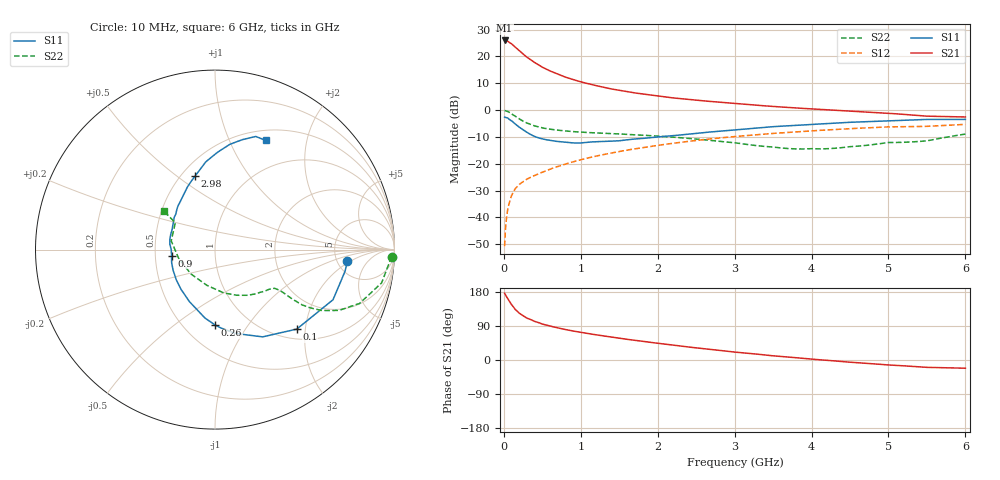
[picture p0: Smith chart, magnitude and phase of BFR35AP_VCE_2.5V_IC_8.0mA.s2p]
! Infineon Technologies  Discrete & RF Semiconductors
! BFR35AP
! VCE =  2.5 V,  IC =  8.0 mA
! Common Emitter S-Parameters:  Nov 2015
# GHz  S  MA  R  50
!  f  S11  S21  S12  S22
! GHz  MAG  ANG  MAG  ANG  MAG  ANG  MAG  ANG
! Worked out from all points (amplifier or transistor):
!   210 points, 10 MHz to 6 GHz, reference 50 ohm
!   highest |S21| = 26.0 dB at 10 MHz (marker M1)
!   |S21| within 3 dB of that: start of sweep to 168.8 MHz
!   unconditionally stable (mu >= 1): 624.7 MHz to 3.704 GHz
!   at 185 MHz: K = 0.50, MSG = 25.4 dB, |S12| = -28.2 dB
!   at 1.52 GHz: K = 1.13, MAG = 9.2 dB, |S12| = -15.4 dB
!   at 6 GHz: K = 0.97, MSG = 1.4 dB, |S12| = -5.3 dB
!   S11 on the Smith chart (normalised r, x): 10 MHz: 6.20, -1.74; 100 MHz: 1.21, -1.80; 260 MHz: 0.70, -0.72; 900 MHz: 0.61, -0.04; 2.98 GHz: 0.58, +0.58; 6 GHz: 0.62, +1.37
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0.01  0.7403 -4.9  19.9 176.2  0.0029 88.4  0.9855 -2.3
0.02  0.7348 -9.4  19.69 172.2  0.0057 83.9  0.9723 -4.6
0.05  0.7144 -23.0  19.28 161.6  0.0139 79.3  0.9467 -11.3
0.1  0.6353 -44.2  17.26 146.1  0.0254 70.3  0.8586 -20.5
0.15  0.5538 -61.4  14.89 132.9  0.0345 64.7  0.7679 -26.2
0.2  0.4811 -76.2  12.87 123.6  0.0409 61.2  0.6855 -29.7
0.24  0.4391 -85.4  11.42 117.9  0.0452 59.9  0.6336 -31.1
0.26  0.4206 -89.8  10.79 115.2  0.0474 59.5  0.6115 -31.7
0.3  0.3856 -98.3  9.694 110.4  0.0516 59.1  0.5747 -32.4
0.4  0.3227 -116.3  7.717 101.9  0.0604 59.4  0.5074 -32.6
0.5  0.2908 -130.8  6.315 94.8  0.0694 60.2  0.4647 -32.3
0.6  0.2734 -142.1  5.373 89.5  0.0793 60.9  0.4399 -32.2
0.7  0.2601 -154.0  4.676 84.6  0.0887 61.3  0.4223 -32.4
0.9  0.2444 -172.0  3.698 76.4  0.1085 61.8  0.397 -33.0
1.02  0.2456 178.5  3.309 72.3  0.1206 61.7  0.3871 -34.0
1.4  0.2637 154.9  2.477 60.5  0.1586 59.9  0.3648 -38.8
2.02  0.3186 130.4  1.815 43.6  0.222 54.7  0.3253 -50.0
2.98  0.4242 105.2  1.335 21.4  0.3191 43.6  0.2474 -77.8
3.1  0.4385 102.9  1.293 19.1  0.33 42.0  0.2348 -82.6
4.1  0.5518 87.1  1.032 0.7  0.4185 29.1  0.1893 -141.2
5.1  0.6379 74.9  0.853 -14.2  0.4878 15.2  0.249 163.9
6  0.6709 65.2  0.744 -21.7  0.5417 5.0  0.3574 143.1
